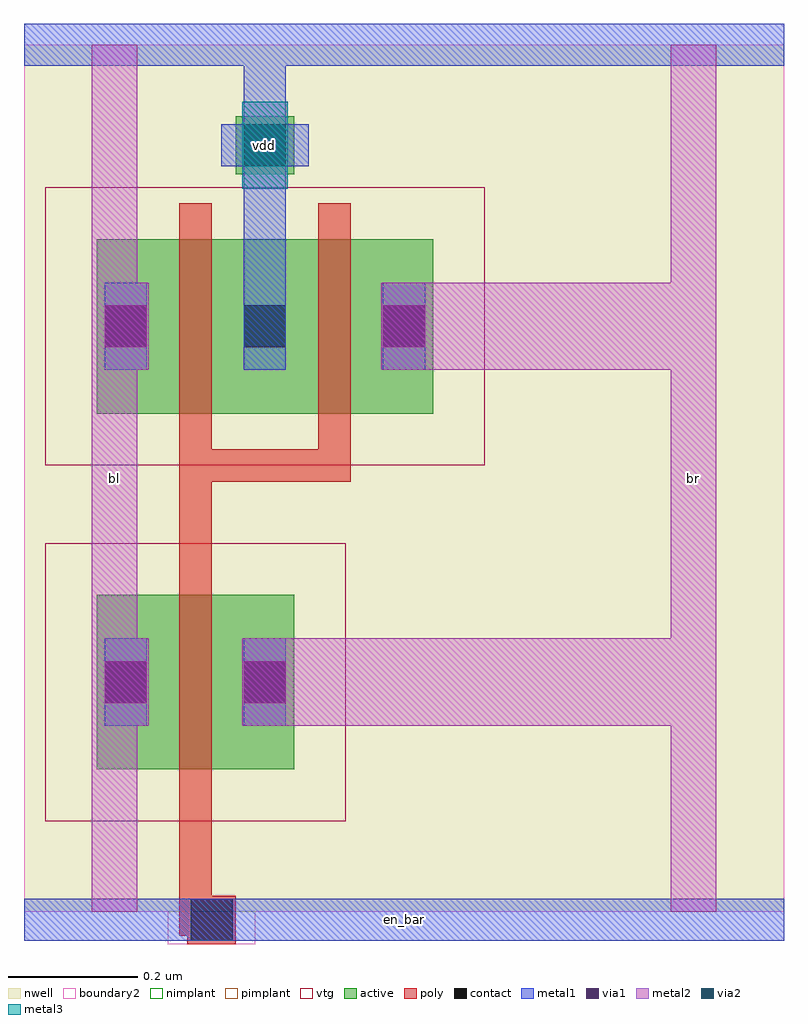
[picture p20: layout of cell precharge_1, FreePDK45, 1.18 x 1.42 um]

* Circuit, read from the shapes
.subckt precharge_1 bl br en_bar vdd
M1 br en_bar bl vdd pfet w=0.27u l=0.05u
M2 vdd en_bar bl vdd pfet w=0.27u l=0.05u
M3 br en_bar vdd vdd pfet w=0.27u l=0.05u
.ends

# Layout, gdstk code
import gdstk
lib = gdstk.Library(unit=1e-6, precision=5e-10)
def R(c, l, rs):  # rectangles x0, y0, x1, y1
    for r in rs: c.add(gdstk.rectangle(r[:2], r[2:], *l))
active = (1, 0)
nwell = (3, 0)
nimplant = (4, 0)
pimplant = (5, 0)
vtg = (6, 0)
poly = (9, 0)
contact = (10, 0)
metal1 = (11, 0)
via1 = (12, 0)
metal2 = (13, 0)
via2 = (14, 0)
metal3 = (15, 0)
boundary2 = (239, 0)

contact_10 = lib.new_cell('contact_10')
R(contact_10, active, [(0,0.0225,0.09,0.1125)])
R(contact_10, nwell, [(-0.055,-0.0325,0.145,0.1675)])
R(contact_10, pimplant, [(0,0.0225,0.09,0.1125)])
R(contact_10, contact, [(0.0125,0.035,0.0775,0.1)])
R(contact_10, metal1, [(0.0125,0,0.0775,0.135)])
R(contact_10, boundary2, [(-0.055,-0.0325,0.145,0.1675)])

pmos_m1_w0_270_sm1_dm1 = lib.new_cell('pmos_m1_w0_270_sm1_dm1')
R(pmos_m1_w0_270_sm1_dm1, active, [(0,0,0.305,0.27)])
R(pmos_m1_w0_270_sm1_dm1, nwell, [(-0.08,-0.08,0.385,0.35)])
R(pmos_m1_w0_270_sm1_dm1, pimplant, [(0,0,0.305,0.27)])
R(pmos_m1_w0_270_sm1_dm1, vtg, [(-0.08,-0.08,0.385,0.35)])
R(pmos_m1_w0_270_sm1_dm1, poly, [(0.1275,-0.055,0.1775,0.325), (0.1275,-0.055,0.1775,0.325)])
R(pmos_m1_w0_270_sm1_dm1, metal1, [(0.0125,0.0675,0.0775,0.2025), (0.2275,0.0675,0.2925,0.2025)])
R(pmos_m1_w0_270_sm1_dm1, boundary2, [(-0.08,-0.08,0.385,0.35)])
pmos_m1_w0_270_sm1_dm1.add(gdstk.Reference(contact_10, (0,0.0675)))
pmos_m1_w0_270_sm1_dm1.add(gdstk.Reference(contact_10, (0.215,0.0675)))
pmos_m1_w0_270_sm1_dm1.add(gdstk.Label('G', (0.1525,0.135), layer=9, texttype=0))
pmos_m1_w0_270_sm1_dm1.add(gdstk.Label('S', (0.045,0.135), layer=11, texttype=0))
pmos_m1_w0_270_sm1_dm1.add(gdstk.Label('D', (0.26,0.135), layer=11, texttype=0))

contact_13 = lib.new_cell('contact_13')
R(contact_13, poly, [(0.03,0,0.105,0.075)])
R(contact_13, contact, [(0.035,0.005,0.1,0.07)])
R(contact_13, metal1, [(0,0.005,0.135,0.07)])
R(contact_13, boundary2, [(0,0,0.135,0.075)])

contact_20 = lib.new_cell('contact_20')
R(contact_20, active, [(0.0225,0,0.1125,0.09)])
R(contact_20, nwell, [(-0.0325,-0.055,0.1675,0.145)])
R(contact_20, nimplant, [(0.0225,0,0.1125,0.09)])
R(contact_20, contact, [(0.035,0.0125,0.1,0.0775)])
R(contact_20, metal1, [(0,0.0125,0.135,0.0775)])
R(contact_20, boundary2, [(-0.0325,-0.055,0.1675,0.145)])

contact_16 = lib.new_cell('contact_16')
R(contact_16, metal1, [(0,0.035,0.135,0.1)])
R(contact_16, via1, [(0.035,0.035,0.1,0.1)])
R(contact_16, metal2, [(0.0325,0,0.1025,0.135)])
R(contact_16, boundary2, [(0,0,0.135,0.135)])

contact_21 = lib.new_cell('contact_21')
R(contact_21, metal1, [(0.0025,0,0.0675,0.135)])
R(contact_21, via1, [(0.0025,0.035,0.0675,0.1)])
R(contact_21, metal2, [(0,0,0.07,0.135)])
R(contact_21, boundary2, [(0,0,0.07,0.135)])

contact_22 = lib.new_cell('contact_22')
R(contact_22, metal2, [(0,0,0.07,0.135)])
R(contact_22, via2, [(0.0025,0.035,0.0675,0.1)])
R(contact_22, metal3, [(0,0,0.07,0.135)])
R(contact_22, boundary2, [(0,0,0.07,0.135)])

precharge_1 = lib.new_cell('precharge_1')
R(precharge_1, nwell, [(0,0,1.175,1.34)])
R(precharge_1, poly, [(0.24,-0.0375,0.29,0.0125), (0.265,-0.0375,0.29,0.0125), (0.24,-0.0125,0.29,0.165), (0.24,0.545,0.29,0.715), (0.24,0.665,0.505,0.715)])
R(precharge_1, metal1, [(0,-0.045,1.175,0.02), (0.34,0.8725,0.405,0.9375), (0.34,0.905,0.405,1.34), (0,1.3075,1.175,1.3725)])
R(precharge_1, metal2, [(0.105,0,0.175,1.34), (0.105,0,0.175,1.34), (1,0,1.07,1.34), (1,0,1.07,1.34), (0.14,0.2875,0.1575,0.4225), (0.3725,0.2875,1.035,0.4225), (0.14,0.8375,0.1575,0.9725), (0.5875,0.8375,1.035,0.9725)])
R(precharge_1, metal3, [(0.3375,1.1175,0.4075,1.2525)])
R(precharge_1, boundary2, [(0,0,1.175,1.34)])
precharge_1.add(gdstk.Reference(pmos_m1_w0_270_sm1_dm1, (0.1125,0.22)))
precharge_1.add(gdstk.Reference(pmos_m1_w0_270_sm1_dm1, (0.1125,0.77)))
precharge_1.add(gdstk.Reference(pmos_m1_w0_270_sm1_dm1, (0.3275,0.77)))
precharge_1.add(gdstk.Reference(contact_13, (0.2225,-0.05)))
precharge_1.add(gdstk.Reference(contact_20, (0.305,1.14)))
precharge_1.add(gdstk.Reference(contact_16, (0.305,1.1175)))
precharge_1.add(gdstk.Reference(contact_21, (0.3375,1.1175)))
precharge_1.add(gdstk.Reference(contact_22, (0.3375,1.1175)))
precharge_1.add(gdstk.Reference(contact_21, (0.1225,0.2875)))
precharge_1.add(gdstk.Reference(contact_21, (0.3375,0.2875)))
precharge_1.add(gdstk.Reference(contact_21, (0.1225,0.8375)))
precharge_1.add(gdstk.Reference(contact_21, (0.5525,0.8375)))
precharge_1.add(gdstk.Label('en_bar', (0.5875,-0.0125), layer=11, texttype=0))
precharge_1.add(gdstk.Label('vdd', (0.3725,1.185), layer=15, texttype=0))
precharge_1.add(gdstk.Label('bl', (0.14,0.67), layer=13, texttype=0))
precharge_1.add(gdstk.Label('br', (1.035,0.67), layer=13, texttype=0))

lib.write_gds('precharge_1.gds')
